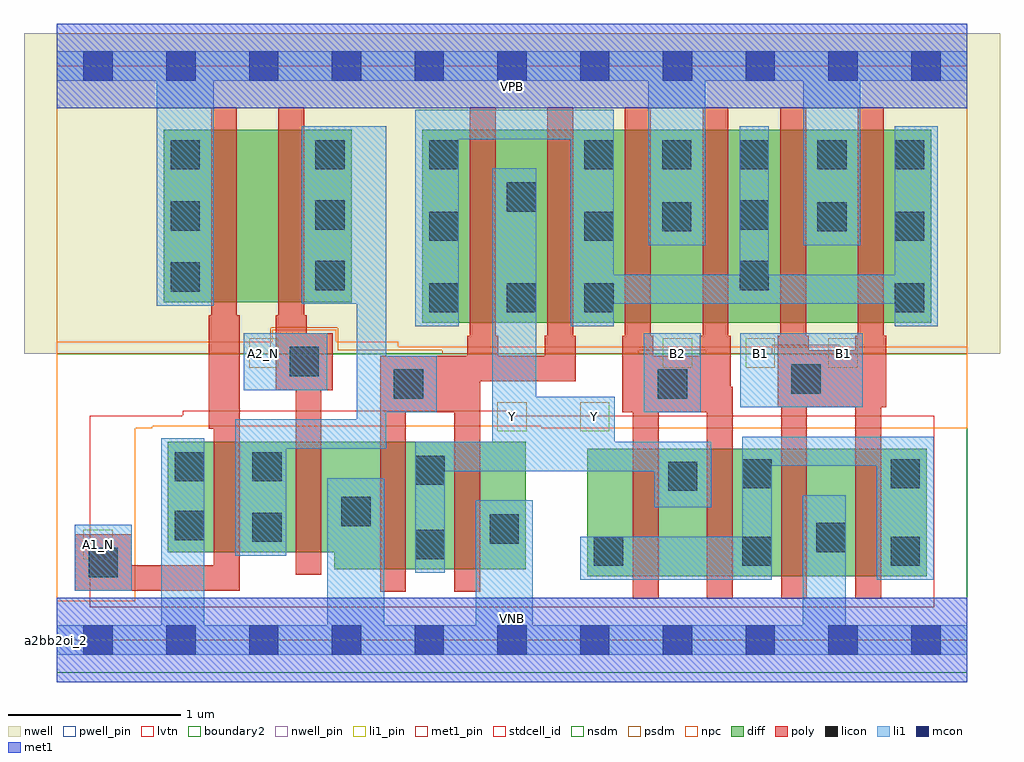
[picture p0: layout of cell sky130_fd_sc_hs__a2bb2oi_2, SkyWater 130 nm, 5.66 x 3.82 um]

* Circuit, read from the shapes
.subckt sky130_fd_sc_hs__a2bb2oi_2 A1_N A2_N B1 B2 VGND VNB VPB VPWR Y
XM1 n1 A1_N VGND VNB sky130_fd_pr__nfet_01v8_lvt w=0.64 l=0.15
XM2 VGND A2_N n1 VNB sky130_fd_pr__nfet_01v8_lvt w=0.64 l=0.15
XM3 Y n1 VGND VNB sky130_fd_pr__nfet_01v8_lvt w=0.74 l=0.15 m=2
XM4 Y B2 n2 VNB sky130_fd_pr__nfet_01v8_lvt w=0.74 l=0.15 m=2
XM5 VGND B1 n2 VNB sky130_fd_pr__nfet_01v8_lvt w=0.74 l=0.15 m=2
XM6 n3 A1_N VPWR VPB sky130_fd_pr__pfet_01v8 w=1 l=0.15
XM7 n1 A2_N n3 VPB sky130_fd_pr__pfet_01v8 w=1 l=0.15
XM8 Y n1 n4 VPB sky130_fd_pr__pfet_01v8 w=1.12 l=0.15 m=2
XM9 VPWR B2 n4 VPB sky130_fd_pr__pfet_01v8 w=1.12 l=0.15 m=2
XM10 VPWR B1 n4 VPB sky130_fd_pr__pfet_01v8 w=1.12 l=0.15 m=2
.ends

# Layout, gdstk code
import gdstk
lib = gdstk.Library(unit=1e-6, precision=1e-09)
def R(c, l, rs):  # rectangles x0, y0, x1, y1
    for r in rs: c.add(gdstk.rectangle(r[:2], r[2:], *l))
def A(c, l, x, y, w, h, nx, ny, dx, dy):  # array of equal rectangles
    R(c, l, [(x+i*dx, y+j*dy, x+i*dx+w, y+j*dy+h) for i in range(nx) for j in range(ny)])
def P(c, l, *ps):  # polygons
    for p in ps: c.add(gdstk.Polygon(p, *l))
nwell_pin = (64, 16)
nwell = (64, 20)
diff = (65, 20)
poly = (66, 20)
licon = (66, 44)
li1_pin = (67, 16)
li1 = (67, 20)
mcon = (67, 44)
met1_pin = (68, 16)
met1 = (68, 20)
stdcell_id = (81, 4)
nsdm = (93, 44)
psdm = (94, 20)
npc = (95, 20)
pwell_pin = (122, 16)
lvtn = (125, 44)
boundary2 = (236, 0)

sky130_fd_sc_hs__a2bb2oi = lib.new_cell('sky130_fd_sc_hs__a2bb2oi_2')
R(sky130_fd_sc_hs__a2bb2oi, nwell_pin, [(0,3.085,5.28,3.33)])
R(sky130_fd_sc_hs__a2bb2oi, nwell, [(-0.19,1.66,5.47,3.52)])
R(sky130_fd_sc_hs__a2bb2oi, diff, [(3.075,0.37,5.045,1.11), (2.12,1.84,5.07,2.96), (0.62,1.96,1.71,2.96)])
P(sky130_fd_sc_hs__a2bb2oi, diff, [(2.72,1.15),(0.645,1.15),(0.645,0.51),(1.61,0.51),(1.61,0.41),(2.72,0.41)])
P(sky130_fd_sc_hs__a2bb2oi, poly, [(4.81,1.765),(4.795,1.765),(4.795,3.09),(4.645,3.09),(4.645,1.765),(4.63,1.765),(4.63,1.68),(4.36,1.68),(4.36,1.765),(4.345,1.765),(4.345,3.09),(4.195,3.09),(4.195,1.765),(4.18,1.765),(4.18,1.35),(4.2,1.35),(4.2,0.24),(4.35,0.24),(4.35,1.35),(4.63,1.35),(4.63,0.24),(4.78,0.24),(4.78,1.35),(4.81,1.35)],
  [(3.92,1.47),(3.91,1.47),(3.91,1.765),(3.895,1.765),(3.895,3.09),(3.745,3.09),(3.745,1.765),(3.73,1.765),(3.73,1.65),(3.46,1.65),(3.46,1.765),(3.445,1.765),(3.445,3.09),(3.295,3.09),(3.295,1.765),(3.28,1.765),(3.28,1.32),(3.34,1.32),(3.34,0.24),(3.49,0.24),(3.49,1.32),(3.77,1.32),(3.77,0.24),(3.92,0.24)],
  [(3.01,1.765),(2.995,1.765),(2.995,3.09),(2.845,3.09),(2.845,1.765),(2.83,1.765),(2.83,1.65),(2.56,1.65),(2.56,1.765),(2.545,1.765),(2.545,3.09),(2.395,3.09),(2.395,1.765),(2.38,1.765),(2.38,1.65),(1.875,1.65),(1.875,0.28),(2.025,0.28),(2.025,1.32),(2.305,1.32),(2.305,0.28),(2.455,0.28),(2.455,1.5),(3.01,1.5)],
  [(1.6,1.78),(1.45,1.78),(1.45,1.885),(1.435,1.885),(1.435,3.09),(1.285,3.09),(1.285,1.885),(1.27,1.885),(1.27,1.45),(1.385,1.45),(1.385,0.38),(1.535,0.38),(1.535,1.45),(1.6,1.45)],
  [(1.06,1.885),(1.045,1.885),(1.045,3.09),(0.895,3.09),(0.895,1.885),(0.88,1.885),(0.88,1.225),(0.91,1.225),(0.91,0.435),(0.435,0.435),(0.435,0.615),(0.105,0.615),(0.105,0.285),(1.06,0.285)])
A(sky130_fd_sc_hs__a2bb2oi, licon, 3.115, 0.43, 0.17, 0.17, 3, 1, 0.86, 0)
A(sky130_fd_sc_hs__a2bb2oi, licon, 2.16, 1.9, 0.17, 0.17, 3, 1, 0.45, 0)
A(sky130_fd_sc_hs__a2bb2oi, licon, 0.66, 2.02, 0.17, 0.17, 1, 3, 0, 0.355)
A(sky130_fd_sc_hs__a2bb2oi, licon, 1.5, 2.03, 0.17, 0.17, 1, 3, 0, 0.35)
A(sky130_fd_sc_hs__a2bb2oi, licon, 3.06, 2.73, 0.17, 0.17, 5, 1, 0.45, 0)
R(sky130_fd_sc_hs__a2bb2oi, licon, [(0.185,0.365,0.355,0.535), (2.08,0.47,2.25,0.64), (4.405,0.51,4.575,0.68), (2.51,0.56,2.68,0.73), (1.135,0.57,1.305,0.74), (0.685,0.58,0.855,0.75), (1.65,0.66,1.82,0.83), (3.545,0.865,3.715,1.035), (3.975,0.88,4.145,1.05), (4.835,0.88,5.005,1.05), (2.08,0.9,2.25,1.07), (0.685,0.92,0.855,1.09), (1.135,0.92,1.305,1.09), (1.955,1.4,2.125,1.57), (3.485,1.4,3.655,1.57), (4.26,1.43,4.43,1.6), (1.35,1.53,1.52,1.7), (4.86,1.9,5.03,2.07), (3.96,2.03,4.13,2.2), (2.16,2.315,2.33,2.485), (3.06,2.315,3.23,2.485), (4.86,2.315,5.03,2.485), (3.51,2.37,3.68,2.54), (4.41,2.37,4.58,2.54), (3.96,2.38,4.13,2.55), (2.61,2.485,2.78,2.655), (2.16,2.73,2.33,2.9)])
A(sky130_fd_sc_hs__a2bb2oi, li1_pin, 3.515, 1.58, 0.17, 0.17, 3, 1, 0.48, 0)
R(sky130_fd_sc_hs__a2bb2oi, li1_pin, [(0.155,0.47,0.325,0.64), (2.555,1.21,2.725,1.38), (3.035,1.21,3.205,1.38), (1.115,1.58,1.285,1.75)])
R(sky130_fd_sc_hs__a2bb2oi, li1, [(0.105,0.285,0.435,0.67), (3.405,1.32,3.735,1.78), (3.965,1.35,4.675,1.78), (1.085,1.45,1.57,1.78)])
P(sky130_fd_sc_hs__a2bb2oi, li1, [(0.58,1.94),(0.58,3.245),(0,3.245),(0,3.415),(5.28,3.415),(5.28,3.245),(4.66,3.245),(4.66,2.29),(4.33,2.29),(4.33,3.245),(3.76,3.245),(3.76,2.29),(3.43,2.29),(3.43,3.245),(0.91,3.245),(0.91,1.94)],
  [(4.325,0.085),(4.325,0.84),(4.575,0.84),(4.575,0.085),(5.28,0.085),(5.28,-0.085),(0,-0.085),(0,0.085),(0.605,0.085),(0.605,1.17),(0.855,1.17),(0.855,0.085),(1.57,0.085),(1.57,0.94),(1.9,0.94),(1.9,0.085),(2.43,0.085),(2.43,0.81),(2.76,0.81),(2.76,0.085)],
  [(1.91,1.11),(1.33,1.11),(1.33,0.49),(1.035,0.49),(1.035,1.28),(1.74,1.28),(1.74,1.95),(1.42,1.95),(1.42,2.98),(1.91,2.98),(1.91,1.65),(2.205,1.65),(2.205,1.32),(1.91,1.32)],
  [(2.525,1.15),(2.525,2.735),(2.78,2.735),(2.78,1.41),(3.235,1.41),(3.235,1.15),(3.795,1.15),(3.795,0.77),(3.465,0.77),(3.465,0.98),(2.25,0.98),(2.25,0.39),(2.08,0.39),(2.08,1.15)],
  [(3.975,0.6),(3.975,1.18),(5.085,1.18),(5.085,0.35),(4.755,0.35),(4.755,1.01),(4.145,1.01),(4.145,0.35),(3.035,0.35),(3.035,0.6)],
  [(2.08,1.82),(2.08,3.075),(3.23,3.075),(3.23,2.12),(3.96,2.12),(3.96,2.98),(4.13,2.98),(4.13,2.12),(4.86,2.12),(4.86,2.98),(5.11,2.98),(5.11,1.82),(4.86,1.82),(4.86,1.95),(3.23,1.95),(3.23,1.82),(2.98,1.82),(2.98,2.905),(2.33,2.905),(2.33,1.82)])
A(sky130_fd_sc_hs__a2bb2oi, mcon, 0.155, -0.085, 0.17, 0.17, 11, 2, 0.48, 3.33)
R(sky130_fd_sc_hs__a2bb2oi, met1_pin, [(0,0,5.28,0.245), (0,3.085,5.28,3.33)])
R(sky130_fd_sc_hs__a2bb2oi, met1, [(0,-0.245,5.28,0.245), (0,3.085,5.28,3.575)])
R(sky130_fd_sc_hs__a2bb2oi, stdcell_id, [(0,0,5.28,3.33)])
R(sky130_fd_sc_hs__a2bb2oi, nsdm, [(0,-0.19,5.28,1.66)])
P(sky130_fd_sc_hs__a2bb2oi, psdm, [(5.28,3.52),(0,3.52),(0,1.66),(1.24,1.66),(1.24,1.81),(1.63,1.81),(1.63,1.68),(2.235,1.68),(2.235,1.66),(3.375,1.66),(3.375,1.68),(3.765,1.68),(3.765,1.66),(4.15,1.66),(4.15,1.71),(4.54,1.71),(4.54,1.66),(5.28,1.66)])
P(sky130_fd_sc_hs__a2bb2oi, npc, [(5.28,1.7),(1.98,1.7),(1.98,1.73),(1.62,1.73),(1.62,1.8),(1.25,1.8),(1.25,1.73),(0,1.73),(0,0.225),(0.455,0.225),(0.455,1.23),(0.555,1.23),(0.555,1.24),(2.81,1.24),(2.81,1.23),(5.28,1.23)])
R(sky130_fd_sc_hs__a2bb2oi, pwell_pin, [(0,0,5.28,0.245)])
P(sky130_fd_sc_hs__a2bb2oi, lvtn, [(5.09,1.3),(2.635,1.3),(2.635,1.33),(0.73,1.33),(0.73,1.3),(0.19,1.3),(0.19,0.19),(5.09,0.19)])
R(sky130_fd_sc_hs__a2bb2oi, boundary2, [(0,0,5.28,3.33)])
sky130_fd_sc_hs__a2bb2oi.add(gdstk.Label('a2bb2oi_2', (0,0), layer=83, texttype=44))
sky130_fd_sc_hs__a2bb2oi.add(gdstk.Label('VNB', (2.64,0.123), layer=64, texttype=59))
sky130_fd_sc_hs__a2bb2oi.add(gdstk.Label('VPB', (2.64,3.208), layer=64, texttype=5))
sky130_fd_sc_hs__a2bb2oi.add(gdstk.Label('VPWR', (2.64,3.208), layer=68, texttype=5))
sky130_fd_sc_hs__a2bb2oi.add(gdstk.Label('VGND', (2.64,0.123), layer=68, texttype=5))
sky130_fd_sc_hs__a2bb2oi.add(gdstk.Label('A2_N', (1.2,1.665), layer=67, texttype=5))
sky130_fd_sc_hs__a2bb2oi.add(gdstk.Label('Y', (2.64,1.295), layer=67, texttype=5))
sky130_fd_sc_hs__a2bb2oi.add(gdstk.Label('Y', (3.12,1.295), layer=67, texttype=5))
sky130_fd_sc_hs__a2bb2oi.add(gdstk.Label('B2', (3.6,1.665), layer=67, texttype=5))
sky130_fd_sc_hs__a2bb2oi.add(gdstk.Label('B1', (4.08,1.665), layer=67, texttype=5))
sky130_fd_sc_hs__a2bb2oi.add(gdstk.Label('B1', (4.56,1.665), layer=67, texttype=5))
sky130_fd_sc_hs__a2bb2oi.add(gdstk.Label('A1_N', (0.24,0.555), layer=67, texttype=5))

lib.write_gds('sky130_fd_sc_hs__a2bb2oi_2.gds')
